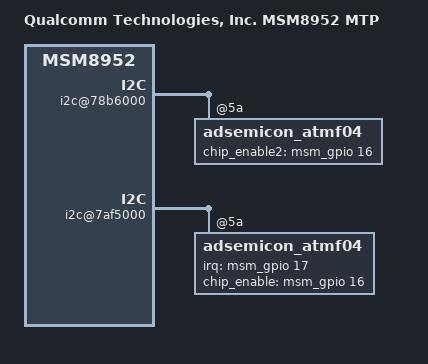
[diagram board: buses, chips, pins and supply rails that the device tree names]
/*
 * Copyright (c) 2015, The Linux Foundation. All rights reserved.
 *
 * This program is free software; you can redistribute it and/or modify
 * it under the terms of the GNU General Public License version 2 and
 * only version 2 as published by the Free Software Foundation.
 *
 * This program is distributed in the hope that it will be useful,
 * but WITHOUT ANY WARRANTY; without even the implied warranty of
 * MERCHANTABILITY or FITNESS FOR A PARTICULAR PURPOSE.  See the
 * GNU General Public License for more details.
 */

/dts-v1/;

#include "msm8952-b3_tmo_us.dtsi"

/ {
	model = "Qualcomm Technologies, Inc. MSM8952 MTP";
	compatible = "qcom,msm8952-mtp", "qcom,msm8952", "qcom,mtp", "lge,msm8952-p1v_att_us";
	qcom,board-id= <0x708 0>; /* rev_1.1 */
};

/* 2nd cap sensor int_pin, enable_pin is swapped for GPIO_16/GPIO_17 after rev_1.0 */
&soc {
	tlmm_pinmux: pinctrl@1000000 {
		atmf04_2nd_int_pin {
			qcom,pins = <&gp 17>;
		};
	};

	i2c@78b6000 {
		adsemicon_atmf04@5a {
			Adsemicon,chip_enable2 = <&msm_gpio 16 0x00>;  /* enable pin - to control 2ND */
		};
	};

	i2c@7af5000 {
		adsemicon_atmf04@5a {
			interrupts = <17 0x2>;
			Adsemicon,irq-gpio = <&msm_gpio 17 0x00>;	/* Interrupt Pin */
			Adsemicon,chip_enable = <&msm_gpio 16 0x00>;  /* enable pin */
		};
	};
};
